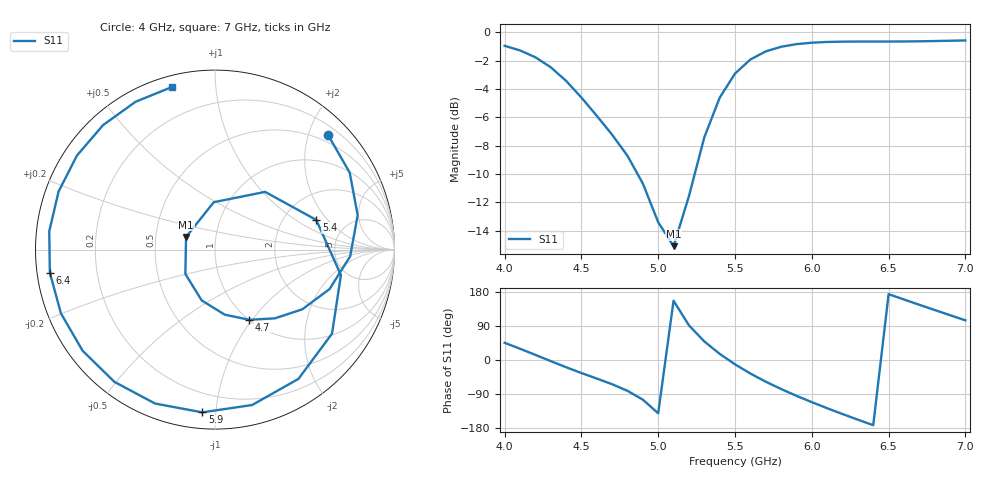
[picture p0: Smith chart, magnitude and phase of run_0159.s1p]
! Touchstone file exported from HFSS 2024.2.0
!  File:  C:/Users/wsak9/Desktop/Sim Fast/Widenad Patch/WP_AI_V1_sweep.aedt
!  Generated:  09:31:58 PM Oct 13, 2026
!  Design:  A1_model
!  Project:  WP_AI_V1_sweep
!  Setup:  Setup1
!  Solution:  Sweep
! Variables:
!  Air_gap = 4.46mm
!  Curve_Amp1 = 0.56
!  Curve_len1 = 1
!  Curve_pos = 11.885mm
!  Extra = 5.63mm
!  H_sub = 0.79mm
!  L_Patch = 19.77mm
!  L_Patch1 = 18.22mm
!  Sx = 3.76mm
!  Sy = 2.19mm
!  WS = 1.49mm
!  W_Patch = 19.39mm
!  W_Patch1 = 12.59mm
!Data is not renormalized
# GHz S MA
! Terminal data exported
! Port[1] = 1
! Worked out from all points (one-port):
!   31 points, 4 GHz to 7 GHz, reference per port
!   lowest |S11| = -15.1 dB at 5.1 GHz (marker M1), VSWR 1.43
!   |S11| at or under -10 dB: 4.866 GHz to 5.238 GHz (371.9 MHz wide, 7.36 % of centre)
!   S11 on the Smith chart (normalised r, x): 4 GHz: 0.36, +2.34; 4.7 GHz: 1.00, -0.97; 5.4 GHz: 3.01, +1.52; 5.9 GHz: 0.09, -0.92; 6.4 GHz: 0.04, -0.07; 7 GHz: 0.05, +0.77
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4  0.8973 45.5
4.1  0.8644 29.7
4.2  0.8177 13.6
4.3  0.754 -2.9
4.4  0.6749 -19.0
4.5  0.5892 -34.4
4.7  0.4354 -63.9
4.8  0.3668 -81.4
4.9  0.2928 -104.7
5  0.2137 -140.6
5.1  0.1759 156.5
5.2  0.2641 91.5
5.3  0.4259 49.0
5.4  0.588 16.3
5.5  0.7158 -11.5
5.6  0.8028 -35.7
5.7  0.8573 -57.2
5.8  0.8903 -76.6
5.9  0.9095 -94.5
6  0.9203 -111.3
6.1  0.9258 -127.2
6.2  0.9282 -142.6
6.3  0.929 -157.5
6.4  0.929 -172.0
6.5  0.9291 173.7
6.7  0.9308 145.7
6.9  0.9351 118.3
7  0.9372 104.7
